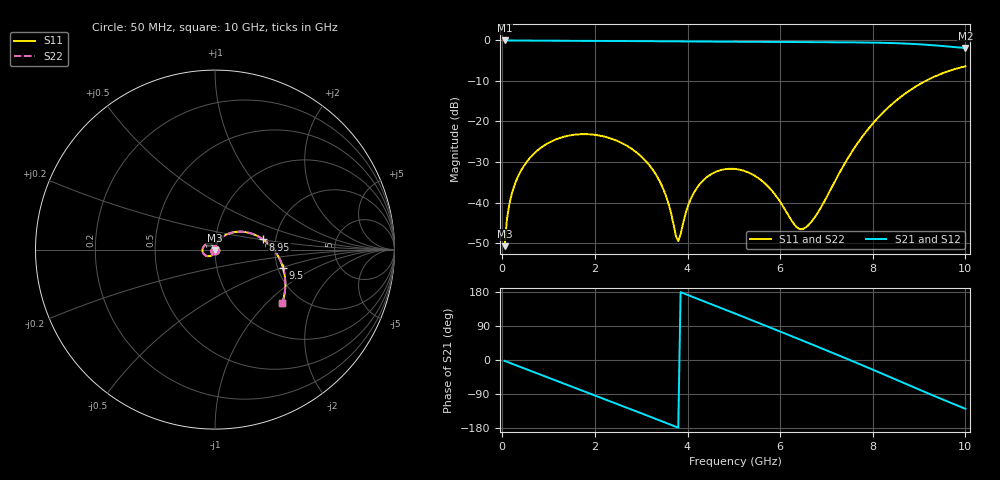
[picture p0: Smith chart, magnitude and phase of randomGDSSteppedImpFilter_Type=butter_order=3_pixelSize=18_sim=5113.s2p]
! freq	dB(S11)	phase(S11)	dB(S12)	phase(S12)
!  dB(S21)	phase(S21)	dB(S22)	phase(S22)
!S-par simulation data
#  GHz  S  DB  R 50
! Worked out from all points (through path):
!   200 points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, 50 MHz to 10 GHz, reference 50 ohm
!   highest |S21| = 0.00 dB at 50 MHz (marker M1); lowest = -1.9 dB at 10 GHz (marker M2)
!   group delay of S21, straight-line fit = 136 ps
!   lowest |S11| = -50.8 dB at 50 MHz (marker M3), VSWR 1.01, Z = 50 - j0.289 ohm
!   |S11| at or under -10 dB: start of sweep to 9.142 GHz
!   |S22| runs from -50.7 to -6.4 dB; largest |S21 - S12| = 0
!   S11 on the Smith chart (normalised r, x): 50 MHz: 1.00, -0.01; 8.95 GHz: 1.72, +0.21; 9.5 GHz: 2.14, -0.51; 10 GHz: 1.60, -1.24
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0.05  -50.77 -87.6  -0.00 -2.4  -0.00 -2.4  -50.72 -86.5
0.1  -44.13 -90.6  -0.01 -4.7  -0.01 -4.7  -44.10 -90.8
0.2  -38.07 -98.2  -0.02 -9.4  -0.02 -9.4  -38.07 -98.2
0.5  -30.41 -113.8  -0.04 -23.5  -0.04 -23.5  -30.41 -113.8
1.05  -24.97 -140.5  -0.07 -49.2  -0.07 -49.2  -24.97 -140.4
1.75  -23.12 -173.7  -0.11 -81.8  -0.11 -81.8  -23.12 -173.7
2.7  -26.06 140.2  -0.16 -126.4  -0.16 -126.4  -26.06 140.3
3.4  -34.78 100.3  -0.20 -159.5  -0.20 -159.5  -34.79 100.5
3.6  -40.72 80.0  -0.21 -169.1  -0.21 -169.1  -40.74 80.4
3.8  -49.50 -1.6  -0.23 -178.6  -0.23 -178.6  -49.69 -1.7
4  -41.20 -75.4  -0.24 171.9  -0.24 171.9  -41.23 -75.8
4.25  -35.66 -98.3  -0.26 159.9  -0.26 159.9  -35.67 -98.6
4.6  -32.48 -119.1  -0.29 143.1  -0.29 143.1  -32.48 -119.3
5.05  -31.75 -142.6  -0.32 121.4  -0.32 121.4  -31.75 -142.8
5.85  -37.47 172.7  -0.37 82.5  -0.37 82.5  -37.47 172.4
6.4  -46.43 106.1  -0.40 55.4  -0.40 55.4  -46.36 105.6
6.7  -44.37 71.9  -0.41 40.5  -0.41 40.5  -44.32 71.7
7.55  -27.47 71.1  -0.47 -2.3  -0.47 -2.3  -27.46 71.2
8.35  -16.38 40.5  -0.62 -43.7  -0.62 -43.7  -16.38 40.6
8.95  -11.23 11.8  -0.91 -75.3  -0.91 -75.3  -11.23 11.9
9.5  -8.13 -14.9  -1.37 -103.8  -1.37 -103.8  -8.13 -14.9
10  -6.39 -38.7  -1.87 -128.6  -1.87 -128.6  -6.39 -38.7
